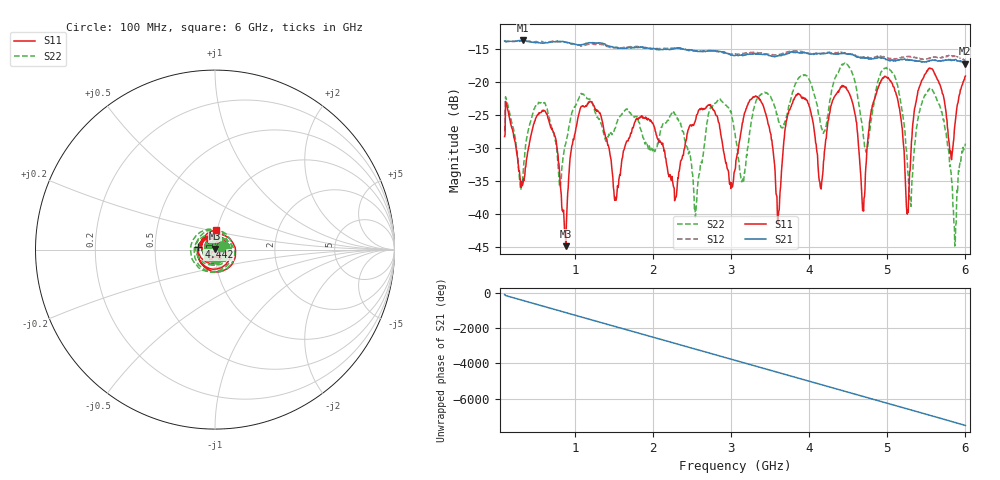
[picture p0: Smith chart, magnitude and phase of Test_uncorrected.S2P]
!Created with skrf (http://scikit-rf.org).
# Hz S RI R 50.0
!freq ReS11 ImS11 ReS21 ImS21 ReS12 ImS12 ReS22 ImS22
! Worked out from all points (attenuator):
!   1001 points, 100 MHz to 6 GHz, reference 50 ohm
!   highest |S21| = -13.74 dB at 330.1 MHz (marker M1); lowest = -17.2 dB at 5.994 GHz (marker M2)
!   lowest |S11| = -44.9 dB at 884.7 MHz (marker M3), VSWR 1.01, Z = 49.7 + j0.503 ohm
!   |S11| at or under -10 dB: start of sweep to end of sweep
!   |S22| runs from -44.9 to -17.2 dB; largest |S21 - S12| = 0.18
!   S11 on the Smith chart (normalised r, x): 100 MHz: 1.07, +0.04; 4.442 GHz: 0.83, +0.02; 6 GHz: 0.99, +0.22
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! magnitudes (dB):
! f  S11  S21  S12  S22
! 100 MHz  -28.3  -13.8  -13.8  -27.5
! 330.1 MHz  -35.7  -13.7  -13.8  -35.0
! 613.3 MHz  -24.4  -14.1  -14.1  -23.2
! 884.7 MHz  -44.9  -14.0  -14.0  -29.3
! 1.085 GHz  -23.7  -14.4  -14.6  -21.8
! 1.522 GHz  -37.6  -14.8  -14.9  -26.9
! 2.071 GHz  -28.8  -15.1  -15.0  -29.0
! 2.549 GHz  -25.7  -15.3  -15.3  -39.9
! 3.05 GHz  -33.3  -16.0  -15.8  -27.9
! 3.345 GHz  -22.4  -15.8  -15.6  -22.3
! 3.605 GHz  -40.2  -16.0  -15.9  -25.8
! 3.77 GHz  -23.8  -15.5  -15.4  -22.4
! 4.035 GHz  -25.3  -15.8  -15.7  -20.7
! 4.147 GHz  -36.2  -15.7  -15.7  -26.4
! 4.442 GHz  -20.6  -15.7  -15.6  -17.3
! 4.69 GHz  -38.9  -16.3  -16.3  -27.8
! 5.021 GHz  -19.6  -16.8  -16.4  -18.1
! 5.257 GHz  -40.1  -16.6  -16.2  -32.3
! 5.457 GHz  -19.5  -17.0  -16.6  -22.7
! 5.864 GHz  -26.7  -16.7  -16.1  -44.9
! 5.994 GHz  -19.3  -17.2  -16.8  -29.8
! 6 GHz  -19.1  -17.2  -16.8  -29.4
